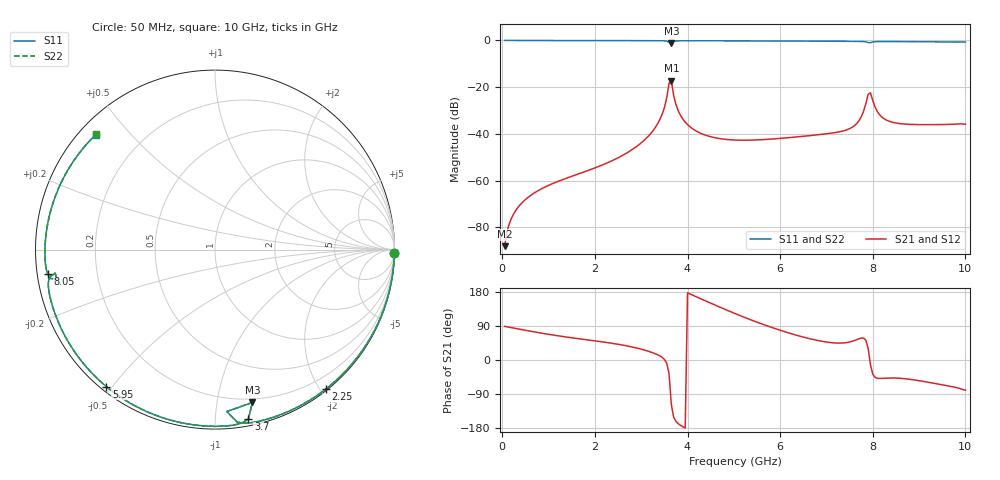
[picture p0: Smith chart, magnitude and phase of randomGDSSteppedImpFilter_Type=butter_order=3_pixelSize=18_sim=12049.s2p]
! freq	dB(S11)	phase(S11)	dB(S12)	phase(S12)
!  dB(S21)	phase(S21)	dB(S22)	phase(S22)
!S-par simulation data
#  GHz  S  DB  R 50
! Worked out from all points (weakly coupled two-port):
!   200 points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, 50 MHz to 10 GHz, reference 50 ohm
!   highest |S21| = -17.18 dB at 3.65 GHz (marker M1); lowest = -88.1 dB at 50 MHz (marker M2)
!   lowest |S11| = -1.1 dB at 3.65 GHz (marker M3), VSWR 15.23, Z = 8.55 - j63 ohm
!   |S11| at or under -10 dB: nowhere
!   |S22| runs from -1.1 to 0.0 dB; largest |S21 - S12| = 0
!   S11 on the Smith chart (normalised r, x): 50 MHz: 1, -96; 2.25 GHz: 0.02, -2.08; 3.7 GHz: 0.05, -1.22; 5.95 GHz: 0.02, -0.48; 8.05 GHz: 0.03, -0.07; 10 GHz: 0.05, +0.40
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0.05  -0.00 -1.2  -88.13 88.8  -88.13 88.8  -0.00 -1.2
0.65  -0.02 -15.1  -65.86 75.0  -65.86 75.0  -0.02 -15.1
1.75  -0.05 -40.3  -56.43 54.5  -56.43 54.5  -0.05 -40.3
2.25  -0.07 -51.4  -52.59 46.3  -52.59 46.3  -0.07 -51.5
3  -0.09 -68.0  -43.88 28.6  -43.88 28.6  -0.09 -68.1
3.4  -0.12 -77.4  -33.97 10.9  -33.97 10.9  -0.12 -77.4
3.5  -0.17 -80.4  -28.81 1.5  -28.81 1.5  -0.17 -80.5
3.6  -0.87 -85.8  -18.39 -35.5  -18.39 -35.5  -0.87 -85.9
3.65  -1.14 -76.3  -17.18 -117.0  -17.18 -117.0  -1.15 -76.3
3.7  -0.33 -78.8  -23.48 -150.9  -23.48 -150.9  -0.33 -78.9
3.85  -0.15 -84.2  -32.16 -172.5  -32.16 -172.5  -0.15 -84.3
4.1  -0.13 -90.1  -37.69 171.7  -37.69 171.7  -0.13 -90.2
5.05  -0.17 -110.0  -42.68 121.3  -42.68 121.3  -0.17 -110.1
5.95  -0.23 -128.4  -42.04 80.5  -42.04 80.5  -0.23 -128.5
6.7  -0.29 -144.0  -40.65 54.4  -40.65 54.4  -0.29 -144.1
7.6  -0.39 -163.7  -36.58 51.2  -36.58 51.2  -0.39 -163.8
7.75  -0.44 -167.5  -32.75 57.9  -32.75 57.9  -0.44 -167.7
7.9  -0.91 -171.5  -23.11 30.9  -23.11 30.9  -0.91 -171.7
7.95  -0.96 -169.3  -22.43 -12.3  -22.43 -12.3  -0.97 -169.5
8.05  -0.52 -171.6  -28.54 -45.9  -28.54 -45.9  -0.52 -171.7
8.35  -0.47 -179.6  -34.59 -47.4  -34.59 -47.4  -0.47 -179.7
10  -0.70 136.2  -35.88 -79.5  -35.88 -79.5  -0.70 135.9
